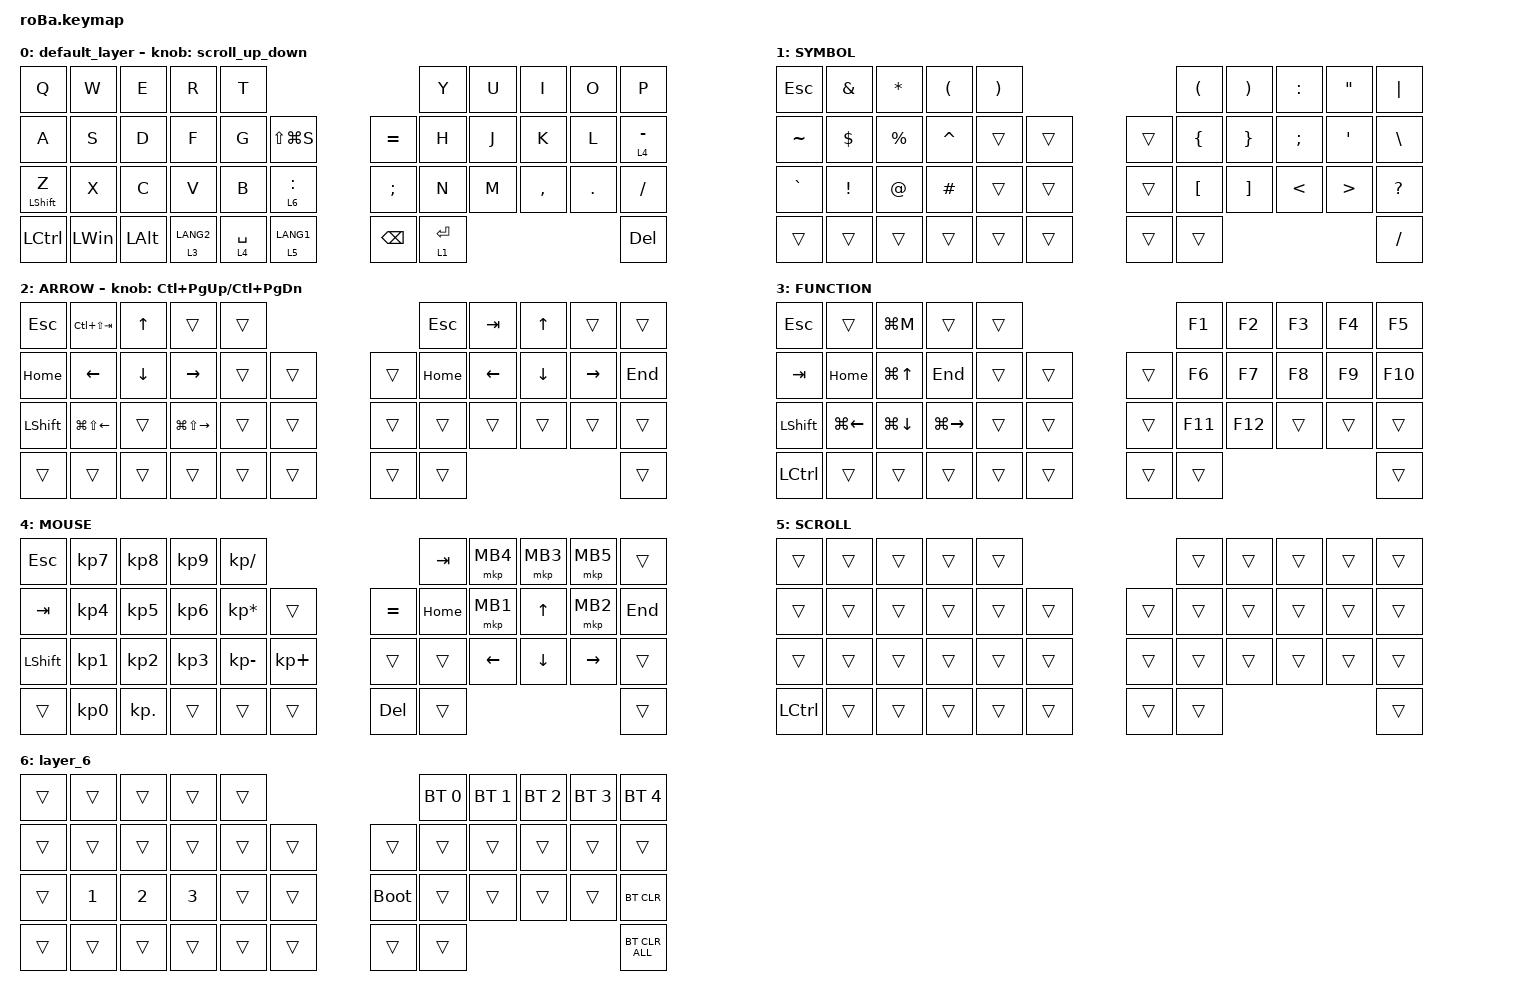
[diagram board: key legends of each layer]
#include <behaviors.dtsi>
#include <dt-bindings/zmk/bt.h>
#include <dt-bindings/zmk/keys.h>
#include <dt-bindings/zmk/pointing.h>

#define ZMK_POINTING_DEFAULT_SCRL_VAL 100
#define MOUSE 4
#define SCROLL 5
#define NUM 6

&mt {
    flavor = "balanced";
    quick-tap-ms = <0>;
};

/ {
    combos { compatible = "zmk,combos"; };

    behaviors {
        lt_to_layer_0: lt_to_layer_0 {
            compatible = "zmk,behavior-hold-tap";
            label = "LAYER_TAP_TO_0";
            bindings = <&mo>, <&to_layer_0>;

            #binding-cells = <2>;
            tapping-term-ms = <200>;
        };

        // 新しいスクロール動作の追加

        scroll_up_down: behavior_sensor_rotate_mouse_wheel_up_down {
            compatible = "zmk,behavior-sensor-rotate";
            #sensor-binding-cells = <0>;
            bindings = <&msc SCRL_UP>, <&msc SCRL_DOWN>;

            // 追加: スクロールのタップ時間を設定 (20ms)

            tap-ms = <20>;
        };

        // 設定したいレイヤー

        sensor-bindings = <&scroll_up_down>;
    };

    macros {
        to_layer_0: to_layer_0 {
            compatible = "zmk,behavior-macro-one-param";
            #binding-cells = <1>;
            bindings = <&to 0 &macro_param_1to1 &kp MACRO_PLACEHOLDER>;
            label = "TO_LAYER_0";
        };
    };

    keymap {
        compatible = "zmk,keymap";

        default_layer {
            bindings = <
&kp Q             &kp W         &kp E         &kp R                   &kp T                                                   &kp Y        &kp U  &kp I      &kp O    &kp P
&kp A             &kp S         &kp D         &kp F                   &kp G        &kp LS(LG(S))               &kp EQUAL      &kp H        &kp J  &kp K      &kp L    &lt 4 MINUS
&mt LEFT_SHIFT Z  &kp X         &kp C         &kp V                   &kp B        &lt 6 COLON                 &kp SEMICOLON  &kp N        &kp M  &kp COMMA  &kp DOT  &kp SLASH
&kp LCTRL         &kp LEFT_WIN  &kp LEFT_ALT  &lt_to_layer_0 3 LANG2  &lt 4 SPACE  &lt_to_layer_0 5 LANG1      &kp BACKSPACE  &lt 1 ENTER                             &kp DEL
            >;

            sensor-bindings = <&scroll_up_down>;
        };

        SYMBOL {
            bindings = <
&kp ESC    &kp AMPERSAND    &kp ASTERISK  &kp LEFT_PARENTHESIS  &kp RIGHT_PARENTHESIS                      &kp LEFT_PARENTHESIS  &kp RIGHT_PARENTHESIS  &kp COLON      &kp DOUBLE_QUOTES  &kp PIPE
&kp TILDE  &kp DOLLAR       &kp PERCENT   &kp CARET             &trans                 &trans      &trans  &kp LEFT_BRACE        &kp RIGHT_BRACE        &kp SEMICOLON  &kp SQT            &kp BACKSLASH
&kp GRAVE  &kp EXCLAMATION  &kp AT_SIGN   &kp HASH              &trans                 &trans      &trans  &kp LEFT_BRACKET      &kp RIGHT_BRACKET      &kp LESS_THAN  &kp GREATER_THAN   &kp QUESTION
&trans     &trans           &trans        &trans                &trans                 &trans      &trans  &trans                                                                         &kp SLASH
            >;
        };

        ARROW {
            bindings = <
&kp ESCAPE      &kp LC(LS(TAB))         &kp UP_ARROW    &trans                   &trans                      &kp ESC   &kp TAB         &kp UP_ARROW    &trans           &trans
&kp HOME        &kp LEFT_ARROW          &kp DOWN_ARROW  &kp RIGHT_ARROW          &trans  &trans      &trans  &kp HOME  &kp LEFT_ARROW  &kp DOWN_ARROW  &kp RIGHT_ARROW  &kp END
&kp LEFT_SHIFT  &kp LG(LS(LEFT_ARROW))  &trans          &kp LG(LS(RIGHT_ARROW))  &trans  &trans      &trans  &trans    &trans          &trans          &trans           &trans
&trans          &trans                  &trans          &trans                   &trans  &trans      &trans  &trans                                                     &trans
            >;

            sensor-bindings = <&inc_dec_kp LC(PAGE_UP) LC(PAGE_DOWN)>;
        };

        FUNCTION {
            bindings = <
&kp ESC           &trans              &kp LG(M)           &trans               &trans                      &kp F1   &kp F2   &kp F3  &kp F4  &kp F5
&kp TAB           &kp HOME            &kp LG(UP_ARROW)    &kp END              &trans  &trans      &trans  &kp F6   &kp F7   &kp F8  &kp F9  &kp F10
&kp LEFT_SHIFT    &kp LG(LEFT_ARROW)  &kp LG(DOWN_ARROW)  &kp LG(RIGHT_ARROW)  &trans  &trans      &trans  &kp F11  &kp F12  &trans  &trans  &trans
&kp LEFT_CONTROL  &trans              &trans              &trans               &trans  &trans      &trans  &trans                            &trans
            >;
        };

        MOUSE {
            bindings = <
&kp ESC         &kp KP_N7  &kp KP_N8   &kp KP_N9  &kp KP_SLASH                                 &kp TAB   &mkp MB4        &mkp MB3        &mkp MB5         &trans
&kp TAB         &kp KP_N4  &kp KP_N5   &kp KP_N6  &kp KP_ASTERISK  &trans           &kp EQUAL  &kp HOME  &mkp MB1        &kp UP_ARROW    &mkp MB2         &kp END
&kp LEFT_SHIFT  &kp KP_N1  &kp KP_N2   &kp KP_N3  &kp KP_MINUS     &kp KP_PLUS      &trans     &trans    &kp LEFT_ARROW  &kp DOWN_ARROW  &kp RIGHT_ARROW  &trans
&trans          &kp KP_N0  &kp KP_DOT  &trans     &trans           &trans           &kp DEL    &trans                                                     &trans
            >;
        };

        SCROLL {
            bindings = <
&trans            &trans  &trans  &trans  &trans                      &trans  &trans  &trans  &trans  &trans
&trans            &trans  &trans  &trans  &trans  &trans      &trans  &trans  &trans  &trans  &trans  &trans
&trans            &trans  &trans  &trans  &trans  &trans      &trans  &trans  &trans  &trans  &trans  &trans
&kp LEFT_CONTROL  &trans  &trans  &trans  &trans  &trans      &trans  &trans                          &trans
            >;
        };

        layer_6 {
            bindings = <
&trans  &trans        &trans        &trans        &trans                           &bt BT_SEL 0  &bt BT_SEL 1  &bt BT_SEL 2  &bt BT_SEL 3  &bt BT_SEL 4
&trans  &trans        &trans        &trans        &trans  &trans      &trans       &trans        &trans        &trans        &trans        &trans
&trans  &kp NUMBER_1  &kp NUMBER_2  &kp NUMBER_3  &trans  &trans      &bootloader  &trans        &trans        &trans        &trans        &bt BT_CLR
&trans  &trans        &trans        &trans        &trans  &trans      &trans       &trans                                                  &bt BT_CLR_ALL
            >;
        };
    };
};
